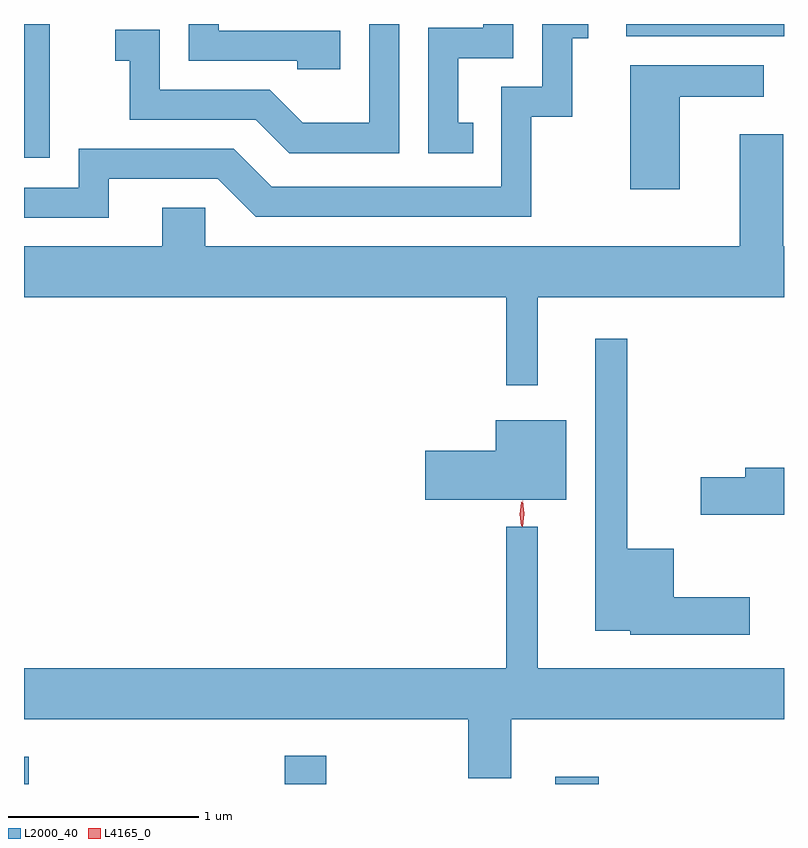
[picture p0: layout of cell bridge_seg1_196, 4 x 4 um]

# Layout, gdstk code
import gdstk
lib = gdstk.Library(unit=1e-6, precision=1e-09)
def R(c, l, rs):  # rectangles x0, y0, x1, y1
    for r in rs: c.add(gdstk.rectangle(r[:2], r[2:], *l))
def P(c, l, *ps):  # polygons
    for p in ps: c.add(gdstk.Polygon(p, *l))
L2000_40 = (2000, 40)
L4165_0 = (4165, 0)

bridge_seg1_196 = lib.new_cell('bridge_seg1_196')
R(bridge_seg1_196, L2000_40, [(686.414,972.495,686.439,972.639), (687.786,972.495,688.004,972.644), (689.211,972.495,689.439,972.534), (686.414,975.791,686.549,976.495), (689.583,976.431,690.414,976.495)])
P(bridge_seg1_196, L2000_40, [(688.389,976.495),(688.231,976.495),(688.231,975.974),(687.882,975.974),(687.707,976.149),(687.129,976.149),(687.129,976.464),(686.893,976.464),(686.893,976.301),(686.971,976.301),(686.971,975.991),(687.634,975.991),(687.809,975.816),(688.389,975.816)],
  [(688.778,975.974),(688.699,975.974),(688.699,976.316),(688.989,976.316),(688.989,976.495),(688.831,976.495),(688.831,976.474),(688.541,976.474),(688.541,975.816),(688.778,975.816)],
  [(686.859,975.681),(687.434,975.681),(687.634,975.481),(689.084,975.481),(689.084,976.006),(689.299,976.006),(689.299,976.421),(689.383,976.421),(689.383,976.495),(689.141,976.495),(689.141,976.164),(688.926,976.164),(688.926,975.639),(687.717,975.639),(687.517,975.839),(686.701,975.839),(686.701,975.634),(686.414,975.634),(686.414,975.476),(686.859,975.476)],
  [(688.079,976.459),(687.439,976.459),(687.439,976.495),(687.281,976.495),(687.281,976.301),(687.851,976.301),(687.851,976.256),(688.079,976.256)],
  [(689.864,976.111),(690.308,976.111),(690.308,976.279),(689.606,976.279),(689.606,975.626),(689.864,975.626)],
  [(689.119,975.056),(690.414,975.056),(690.414,975.324),(690.409,975.324),(690.409,975.914),(690.181,975.914),(690.181,975.324),(687.369,975.324),(687.369,975.529),(687.141,975.529),(687.141,975.324),(686.414,975.324),(686.414,975.056),(688.951,975.056),(688.951,974.593),(689.119,974.593)],
  [(690.234,973.479),(689.834,973.479),(689.834,973.734),(689.589,973.734),(689.589,974.838),(689.421,974.838),(689.421,973.301),(689.606,973.301),(689.606,973.281),(690.234,973.281)],
  [(689.269,974.409),(688.896,974.409),(688.896,974.249),(688.526,974.249),(688.526,973.991),(689.269,973.991)],
  [(690.414,974.159),(690.211,974.159),(690.211,974.109),(689.976,974.109),(689.976,973.911),(690.414,973.911)],
  [(688.979,972.836),(690.414,972.836),(690.414,973.104),(689.119,973.104),(689.119,973.848),(688.951,973.848),(688.951,973.104),(686.414,973.104),(686.414,972.836),(688.751,972.836),(688.751,972.526),(688.979,972.526)])
P(bridge_seg1_196, L4165_0, [(689.032,973.853),(689.032,973.854),(689.022,973.916),(689.032,973.979),(689.032,973.98),(689.033,973.979),(689.042,973.916),(689.033,973.854)],
  [(689.037,973.85),(689.028,973.918),(689.039,973.985),(689.039,973.986),(689.04,973.985),(689.048,973.918),(689.038,973.85),(689.038,973.85)])

lib.write_gds('bridge_seg1_196.gds')
